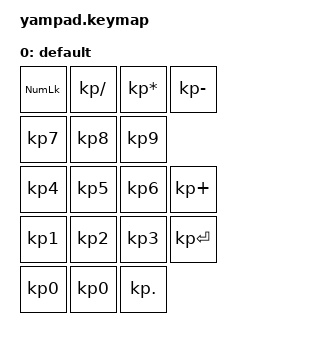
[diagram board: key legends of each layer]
/*
 * Copyright (c) 2025 The ZMK Contributors
 *
 * SPDX-License-Identifier: MIT
 */

#include <behaviors.dtsi>
#include <dt-bindings/zmk/keys.h>
#include <dt-bindings/zmk/bt.h>
#include <dt-bindings/zmk/outputs.h>
#include <dt-bindings/zmk/rgb.h>

/ {

    keymap: keymap {
        compatible = "zmk,keymap";

        default_layer {
            display-name = "default";
            bindings = <
                &kp KP_NUM       &kp KP_DIVIDE   &kp KP_MULTIPLY   &kp KP_MINUS
                &kp KP_N7        &kp KP_N8       &kp KP_N9
                &kp KP_N4        &kp KP_N5       &kp KP_N6         &kp KP_PLUS
                &kp KP_N1        &kp KP_N2       &kp KP_N3         &kp KP_ENTER        
                &kp KP_N0        &kp KP_N0       &kp KP_DOT
            >;
        };
    };
};
